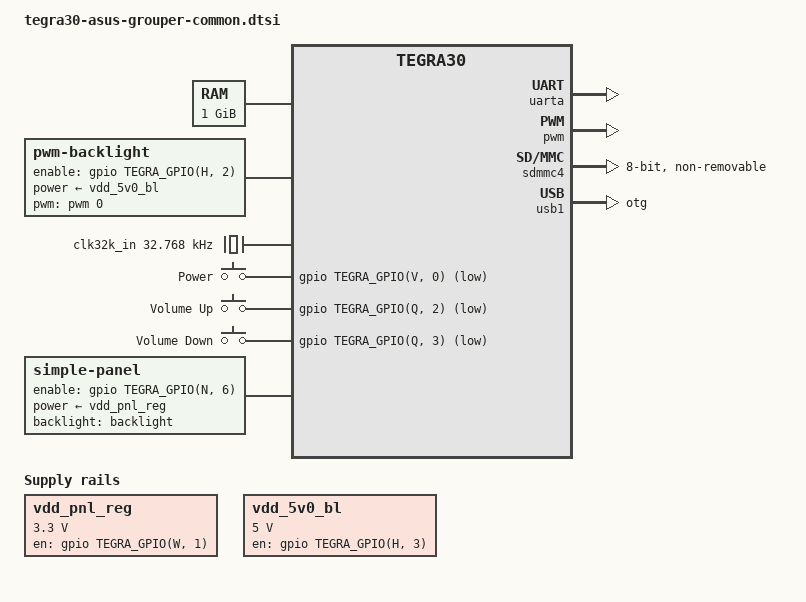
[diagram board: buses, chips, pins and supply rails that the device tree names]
// SPDX-License-Identifier: GPL-2.0-or-later

#include <dt-bindings/input/gpio-keys.h>
#include <dt-bindings/input/linux-event-codes.h>

#include "tegra30.dtsi"

/ {
	chosen {
		stdout-path = &uarta;
	};

	aliases {
		i2c0 = &pmic_i2c;

		mmc0 = &sdmmc4;	/* eMMC */

		rtc1 = "/rtc@7000e000";

		usb0 = &usb1;
	};

	memory {
		device_type = "memory";
		reg = <0x80000000 0x40000000>;
	};

	uarta: serial@70006000 {
		status = "okay";
	};

	pwm: pwm@7000a000 {
		status = "okay";
	};

	sdmmc4: sdhci@78000600 {
		status = "okay";
		bus-width = <8>;
		non-removable;
	};

	usb1: usb@7d000000 {
		status = "okay";
		dr_mode = "otg";
	};

	backlight: backlight {
		compatible = "pwm-backlight";

		enable-gpios = <&gpio TEGRA_GPIO(H, 2) GPIO_ACTIVE_HIGH>;
		power-supply = <&vdd_5v0_bl>;
		pwms = <&pwm 0 50000>;

		brightness-levels = <0 4 8 16 32 64 128 255>;
		default-brightness-level = <6>;
	};

	clocks {
		compatible = "simple-bus";
		#address-cells = <1>;
		#size-cells = <0>;

		clk32k_in: clock@0 {
			compatible = "fixed-clock";
			reg=<0>;
			#clock-cells = <0>;
			clock-frequency = <32768>;
		};
	};

	gpio-keyboard {
		compatible = "gpio-keys-input";

		power {
			label = "Power";
			gpios = <&gpio TEGRA_GPIO(V, 0) GPIO_ACTIVE_LOW>;
			linux,code = <KEY_ENTER>;
		};

		volume-up {
			label = "Volume Up";
			gpios = <&gpio TEGRA_GPIO(Q, 2) GPIO_ACTIVE_LOW>;
			linux,code = <KEY_UP>;
		};

		volume-down {
			label = "Volume Down";
			gpios = <&gpio TEGRA_GPIO(Q, 3) GPIO_ACTIVE_LOW>;
			linux,code = <KEY_DOWN>;
		};
	};

	panel: panel {
		compatible = "simple-panel";

		power-supply = <&vdd_pnl_reg>;
		enable-gpios = <&gpio TEGRA_GPIO(N, 6) GPIO_ACTIVE_HIGH>;

		backlight = <&backlight>;
	};

	regulators {
		compatible = "simple-bus";
		#address-cells = <1>;
		#size-cells = <0>;

		vdd_pnl_reg: regulator@0 {
			compatible = "regulator-fixed";
			reg = <0>;
			regulator-name = "vdd_panel";
			regulator-min-microvolt = <3300000>;
			regulator-max-microvolt = <3300000>;
			gpio = <&gpio TEGRA_GPIO(W, 1) GPIO_ACTIVE_HIGH>;
			enable-active-high;
		};

		vdd_5v0_bl: regulator@1 {
			compatible = "regulator-fixed";
			reg = <1>;
			regulator-name = "vdd_5v0_bl";
			regulator-min-microvolt = <5000000>;
			regulator-max-microvolt = <5000000>;
			regulator-boot-on;
			gpio = <&gpio TEGRA_GPIO(H, 3) GPIO_ACTIVE_HIGH>;
			enable-active-high;
		};
	};
};
